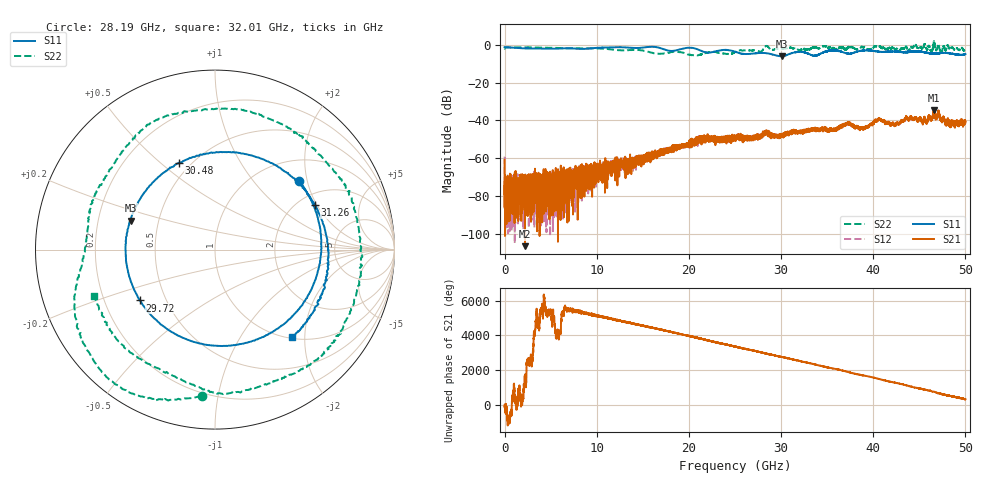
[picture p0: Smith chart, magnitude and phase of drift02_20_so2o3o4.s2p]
!Created with skrf (http://scikit-rf.org).
# Hz S RI R 50.0
!freq ReS11 ImS11 ReS21 ImS21 ReS12 ImS12 ReS22 ImS22
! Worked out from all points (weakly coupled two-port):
!   10001 points, 300 kHz to 50 GHz, reference 50 ohm
!   highest |S21| = -34.63 dB at 46.61 GHz (marker M1); lowest = -106.4 dB at 2.215 GHz (marker M2)
!   lowest |S11| = -6.1 dB at 30.11 GHz (marker M3), VSWR 2.98, Z = 17.2 + j7.41 ohm
!   |S11| at or under -10 dB: nowhere
!   |S22| runs from -5.7 to 2.3 dB; largest |S21 - S12| = 0.0033
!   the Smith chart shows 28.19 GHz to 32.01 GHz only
!   S11 on the Smith chart (normalised r, x): 28.19 GHz: 1.49, +1.79; 29.72 GHz: 0.36, -0.27; 30.48 GHz: 0.43, +0.58; 31.26 GHz: 2.43, +1.92; 32.01 GHz: 1.02, -1.73
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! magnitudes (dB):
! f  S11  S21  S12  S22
! 300 kHz  -1.3  -60.8  -59.1  -2.1
! 285.3 MHz  -1.4  -82.4  -80.3  -1.4
! 2.215 GHz  -1.9  -106.4  -72.6  -1.3
! 4.71 GHz  -2.1  -71.3  -78.5  -1.6
! 8.335 GHz  -2.2  -71.2  -74.5  -1.9
! 16.67 GHz  -1.5  -57.4  -57.9  -4.7
! 21.32 GHz  -3.2  -48.7  -52.1  -5.2
! 25 GHz  -3.7  -48.9  -48.4  -3.9
! 28.19 GHz  -4.4  -47.0  -47.4  -1.7
! 29.72 GHz  -5.9  -48.6  -48.1  -2.1
! 30.11 GHz  -6.1  -47.5  -47.8  -2.0
! 30.48 GHz  -5.6  -48.3  -47.4  -1.9
! 31.26 GHz  -4.3  -45.3  -46.4  -1.9
! 32.01 GHz  -3.7  -45.6  -45.9  -2.8
! 33.34 GHz  -5.5  -45.0  -44.7  -1.6
! 37.28 GHz  -4.7  -41.1  -41.4  -1.4
! 38.88 GHz  -3.0  -44.5  -44.6  -1.4
! 40.63 GHz  -3.6  -39.1  -39.2  -1.0
! 41.67 GHz  -3.6  -41.4  -41.0  -1.8
! 46.61 GHz  -4.8  -34.6  -34.4  2.3
! 48.13 GHz  -4.3  -40.2  -40.1  -0.6
! 50 GHz  -4.9  -40.7  -40.2  -2.7
